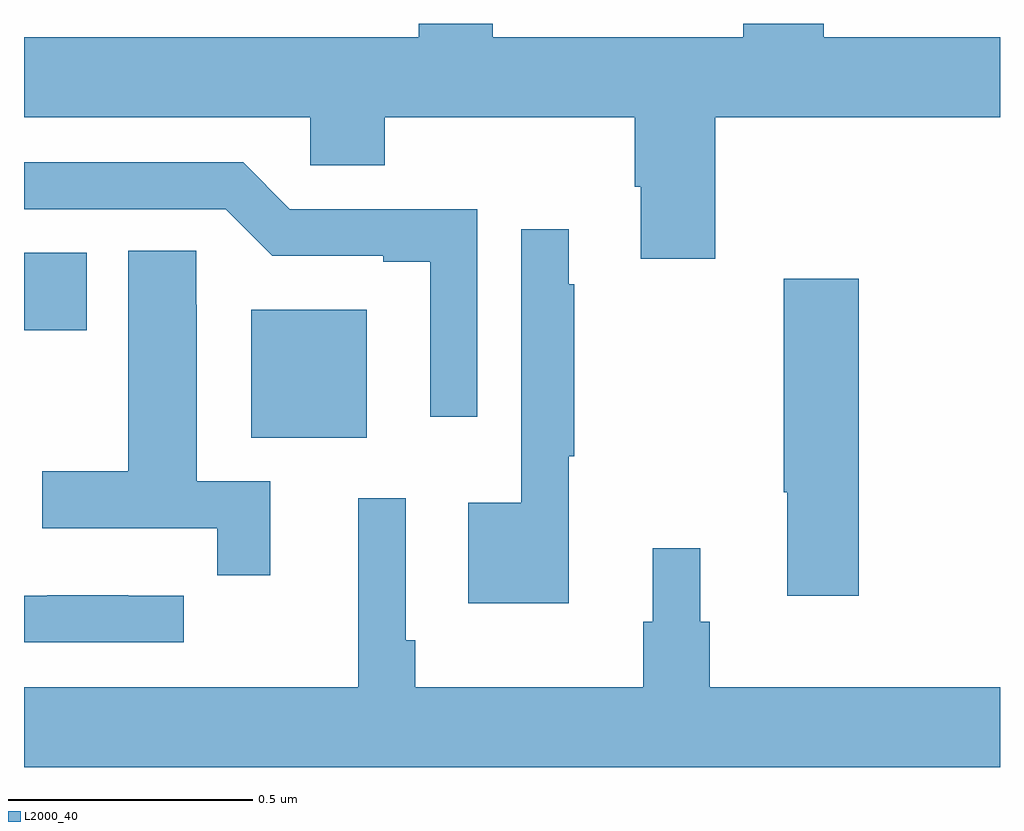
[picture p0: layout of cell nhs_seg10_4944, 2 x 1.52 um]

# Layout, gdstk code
import gdstk
lib = gdstk.Library(unit=1e-6, precision=1e-09)
def R(c, l, rs):  # rectangles x0, y0, x1, y1
    for r in rs: c.add(gdstk.rectangle(r[:2], r[2:], *l))
def P(c, l, *ps):  # polygons
    for p in ps: c.add(gdstk.Polygon(p, *l))
L2000_40 = (2000, 40)

nhs_seg10_4944 = lib.new_cell('nhs_seg10_4944')
R(nhs_seg10_4944, L2000_40, [(172.466,1307.651,172.702,1307.914), (172,1307.872,172.129,1308.031)])
P(nhs_seg10_4944, L2000_40, [(173.417,1308.308),(174,1308.308),(174,1308.472),(173.639,1308.472),(173.639,1308.5),(173.474,1308.5),(173.474,1308.472),(172.961,1308.472),(172.961,1308.5),(172.809,1308.5),(172.809,1308.472),(172,1308.472),(172,1308.308),(172.587,1308.308),(172.587,1308.21),(172.739,1308.21),(172.739,1308.308),(173.252,1308.308),(173.252,1308.166),(173.264,1308.166),(173.264,1308.018),(173.417,1308.018)],
  [(172.929,1308.12),(172.545,1308.12),(172.449,1308.216),(172,1308.216),(172,1308.12),(172.413,1308.12),(172.509,1308.024),(172.736,1308.024),(172.736,1308.012),(172.832,1308.012),(172.832,1307.694),(172.929,1307.694)],
  [(173.116,1307.614),(173.128,1307.614),(173.128,1307.966),(173.116,1307.966),(173.116,1308.079),(173.019,1308.079),(173.019,1307.518),(172.91,1307.518),(172.91,1307.312),(173.116,1307.312)],
  [(172.505,1307.562),(172.354,1307.562),(172.354,1307.924),(172.353,1307.924),(172.353,1308.035),(172.214,1308.035),(172.214,1307.583),(172.037,1307.583),(172.037,1307.466),(172.396,1307.466),(172.396,1307.37),(172.505,1307.37)],
  [(173.711,1307.977),(173.557,1307.977),(173.557,1307.54),(173.564,1307.54),(173.564,1307.328),(173.711,1307.328)],
  [(174,1307.14),(173.405,1307.14),(173.405,1307.274),(173.386,1307.274),(173.386,1307.425),(173.288,1307.425),(173.288,1307.274),(173.269,1307.274),(173.269,1307.14),(172.802,1307.14),(172.802,1307.236),(172.782,1307.236),(172.782,1307.527),(172.685,1307.527),(172.685,1307.14),(172,1307.14),(172,1306.976),(174,1306.976)],
  [(172.327,1307.328),(172.214,1307.328),(172.214,1307.329),(172.048,1307.329),(172.048,1307.328),(172,1307.328),(172,1307.232),(172.327,1307.232)])

lib.write_gds('nhs_seg10_4944.gds')
